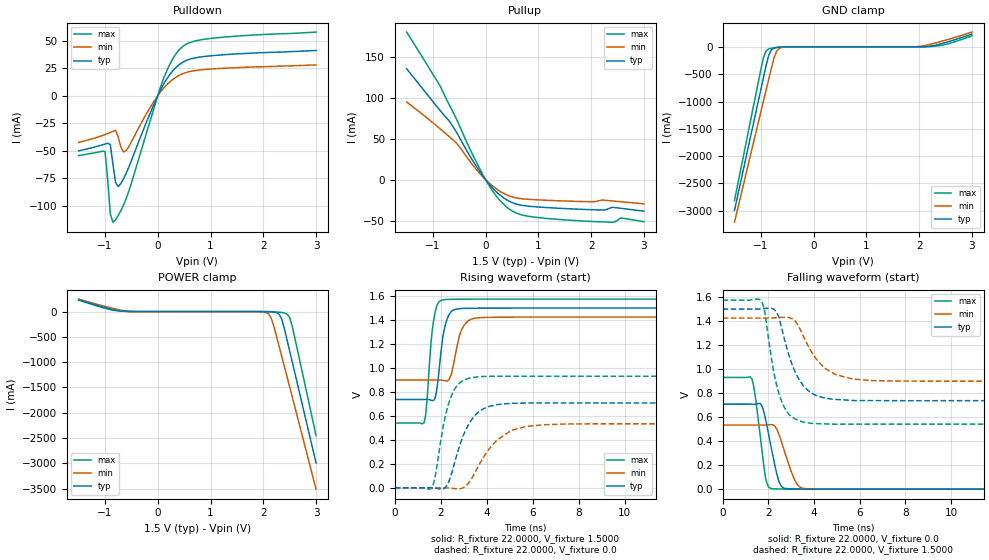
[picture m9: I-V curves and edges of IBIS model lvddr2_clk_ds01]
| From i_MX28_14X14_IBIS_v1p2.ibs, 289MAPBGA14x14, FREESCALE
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|   Model lvddr2_clk_ds01
| This model was characterised for following simulation conditions:
| Spice Models:
|  - Typ Condition
|   ..../Ringo/backup/r63536/IBIS/DDR_CLK_IBIS/lvddr2_clk_ds01/typ.model
|  - Min Condition
|   ..../Ringo/backup/r63536/IBIS/DDR_CLK_IBIS/lvddr2_clk_ds01/wcs.model
|  - Max Condition
|   ..../Ringo/backup/r63536/IBIS/DDR_CLK_IBIS/lvddr2_clk_ds01/bcs.model
[Model]  lvddr2_clk_ds01
Model_type I/O
Polarity   Non-Inverting
Enable   Active-Low
Vinl =   0.6250V
Vinh =   0.8750V
Vmeas =  0.7500V
Cref =   0.0F
Rref =   22.0000
Vref =   0.7500V
C_comp   4.0579pF   3.7532pF   4.3971pF
[Temperature Range]   25.0000   0.1050k   -40.0000
[Voltage Range]   1.5000V   1.4250V   1.5750V
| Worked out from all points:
|   slope of the pulldown table from 0 to 0.225 V, typ, clamps not added: 11.8 ohm
|   slope of the pullup table from 0 to 0.225 V, typ, clamps not added: 13.9 ohm
|   GND clamp passes 1 mA (typ) near -0.54 V on its own axis
|   POWER clamp passes 1 mA (typ) near -0.52 V on its own axis
|   rising waveform, R_fixture 22.0000, V_fixture 1.5000: 20-80 % time 306ps typ, 383ps min, 261ps max; typ from 0.737 V to 1.5 V
|   rising waveform, R_fixture 22.0000, V_fixture 0.0: 20-80 % time 832ps typ, 1.24ns min, 581ps max; typ from 0 V to 0.708 V
|   falling waveform, R_fixture 22.0000, V_fixture 0.0: 20-80 % time 458ps typ, 570ps min, 360ps max; typ from 0.708 V to 0 V
|   falling waveform, R_fixture 22.0000, V_fixture 1.5000: 20-80 % time 851ps typ, 1.09ns min, 623ps max; typ from 1.5 V to 0.737 V
[Pulldown]
|Voltage   I(typ)   I(min)   I(max)
-1.5V     -50.23mA   -42.56mA   -54.58mA
-1V       -44.07mA   -35.42mA   -50.85mA
-900mV    -44.31mA   -33.49mA   -107.7mA
-850mV    -62.48mA   -32.51mA   -115.2mA
-800mV    -79.21mA   -31.56mA   -112.9mA
-700mV    -80.04mA   -46.91mA   -104.7mA
-600mV    -70.72mA   -50.03mA   -93.82mA
100mV     9.609mA    6.266mA    14.34mA
250mV     20.63mA    13.51mA    30.66mA
450mV     29.79mA    19.6mA     43.93mA
1.05V     36.53mA    24.42mA    52.41mA
3V        41.17mA    28.03mA    57.93mA
[Pullup]
|Voltage   I(typ)   I(min)   I(max)
-1.5V     136.2mA    95.4mA     181mA
-850mV    83.77mA    61.73mA    113.3mA
-550mV    57.81mA    44.51mA    73.84mA
0V        29.58pA    76.78pA    13.06pA
200mV     -14.7mA    -11.07mA   -19.84mA
400mV     -24.66mA   -18.5mA    -33.5mA
650mV     -30.88mA   -23mA      -42.45mA
1.05V     -33.62mA   -24.83mA   -46.72mA
2.2V      -37.01mA   -24.89mA   -51.59mA
2.4V      -33.69mA   -25.94mA   -51.99mA
2.6V      -35.27mA   -27.11mA   -47.09mA
3V        -38.52mA   -29.51mA   -51.46mA
[GND_clamp]
|Voltage   I(typ)   I(min)   I(max)
-1.5V     -2.992A    -3.208A    -2.813A
-950mV    -560mA     -987.6mA   -195.4mA
-900mV    -340.4mA   -787.3mA   -73.55mA
-850mV    -153.4mA   -587.5mA   -36.34mA
-800mV    -53.48mA   -388.6mA   -22.98mA
-750mV    -20.08mA   -201.2mA   -15.88mA
-700mV    -9.84mA    -78.33mA   -10.56mA
-650mV    -5.475mA   -24.26mA   -6.256mA
-500mV    -416.9uA   -767.7uA   -344.6uA
2V        584uA      6.637mA    19.73uA
2.45V     65.79mA    108.8mA    32.48mA
3V        234.1mA    270.6mA    201.1mA
[POWER_clamp]
|Voltage   I(typ)   I(min)   I(max)
-1.5V     234.1mA    247.3mA    227.6mA
-650mV    6.529mA    17.7mA     6.224mA
1.95V     -111.7uA   -1.345mA   -3.621uA
2.1V      -2.844mA   -44.36mA   -675.7uA
2.15V     -5.475mA   -130.2mA   -2.018mA
2.2V      -9.84mA    -289.9mA   -4.533mA
2.3V      -53.48mA   -687.3mA   -13.09mA
2.35V     -153.4mA   -887.4mA   -19.05mA
2.45V     -560mA     -1.289A    -49.25mA
2.5V      -780.1mA   -1.49A     -120mA
2.55V     -1.001A    -1.692A    -296.2mA
3V        -2.992A    -3.512A    -2.453A
[Ramp]
| variable   typ   min   max
dV/dt_r  0.4248/0.8317n   0.3205/1.1879n   0.5587/0.5764n
dV/dt_f  0.4577/0.8509n   0.3152/1.0844n   0.6201/0.6219n
R_load = 22.0000
[Rising Waveform]
R_fixture= 22.0000
V_fixture= 1.5000
V_fixture_min= 1.4250
V_fixture_max= 1.5750
|time   V(typ)   V(min)   V(max)
0s        737.2mV    899.7mV    541.4mV
1.278ns   737.2mV    899.7mV    543.7mV
1.342ns   737.4mV    899.7mV    600.2mV
1.689ns   728.6mV    899.7mV    1.391V
1.82ns    805.3mV    899.8mV    1.512V
2.096ns   1.262V     897.2mV    1.568V
2.468ns   1.472V     950.4mV    1.573V
2.929ns   1.496V     1.327V     1.574V
3.48ns    1.499V     1.415V     1.575V
25ns      1.5V       1.425V     1.575V
[Rising Waveform]
R_fixture= 22.0000
V_fixture= 0.0
V_fixture_min= 0.0
V_fixture_max= 0.0
|time   V(typ)   V(min)   V(max)
0s        991nV      513.7nV    1.848uV
1.634ns   262.2uV    2.45uV     8.671mV
1.778ns   -3.334mV   -7.778uV   111.6mV
2.11ns    -9.676mV   280.4uV    511.5mV
2.383ns   66.49mV    -1.803mV   724.8mV
2.712ns   282.1mV    -7.733mV   853.5mV
3.296ns   554.8mV    63.03mV    918.2mV
4.433ns   694.3mV    396mV      930.8mV
5.68ns    707.6mV    511.1mV    931.1mV
25ns      708.1mV    534.2mV    931.1mV
[Falling Waveform]
R_fixture= 22.0000
V_fixture= 0.0
V_fixture_min= 0.0
V_fixture_max= 0.0
|time   V(typ)   V(min)   V(max)
0s        708.1mV    534.2mV    931.1mV
1.287ns   707.9mV    534.2mV    916mV
1.418ns   708mV      534.2mV    789mV
1.695ns   701.5mV    534.1mV    366.6mV
1.874ns   587.2mV    534.1mV    100.1mV
2.113ns   359.7mV    538.1mV    5.778mV
2.565ns   24.19mV    400.7mV    1.09mV
3.185ns   1.504mV    65.95mV    201.9uV
3.563ns   643.3uV    5.913mV    81.63uV
25ns      992.4nV    516.2nV    1.85uV
[Falling Waveform]
R_fixture= 22.0000
V_fixture= 1.5000
V_fixture_min= 1.4250
V_fixture_max= 1.5750
|time   V(typ)   V(min)   V(max)
0s        1.5V       1.425V     1.575V
1.694ns   1.503V     1.425V     1.568V
1.821ns   1.506V     1.425V     1.501V
2.29ns    1.492V     1.427V     929.6mV
2.562ns   1.36V      1.431V     742.4mV
3.043ns   1.037V     1.42V      599.7mV
3.528ns   863.6mV    1.275V     558.4mV
4.556ns   755.4mV    997.1mV    543.1mV
5.715ns   738.6mV    916.9mV    541.4mV
25ns      737.2mV    899.7mV    541.4mV
